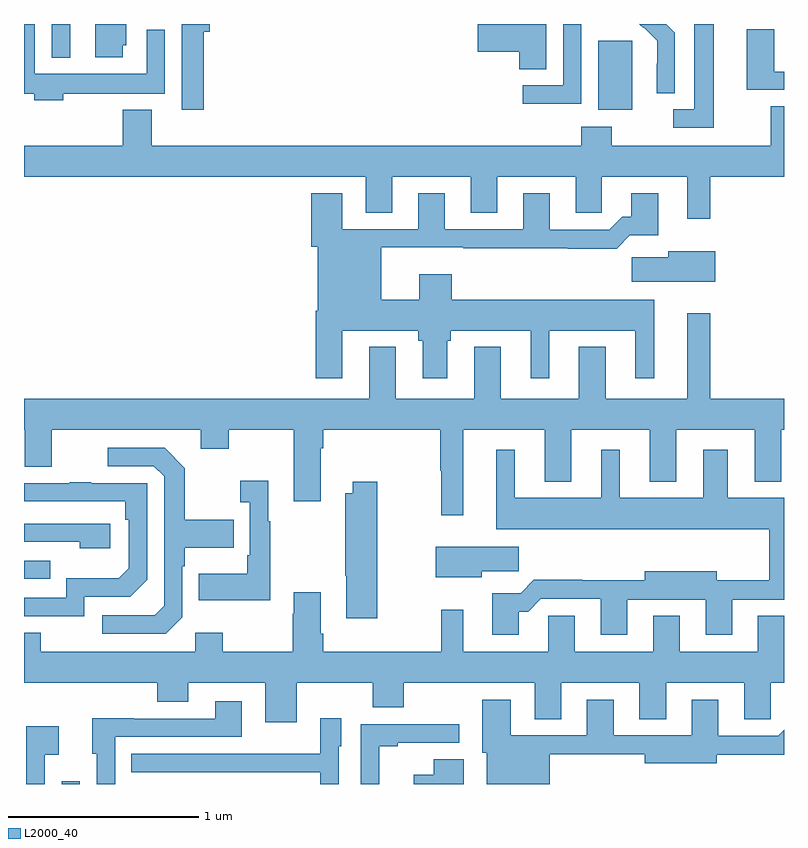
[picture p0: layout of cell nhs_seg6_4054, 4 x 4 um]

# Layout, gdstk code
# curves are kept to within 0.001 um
import gdstk
lib = gdstk.Library(unit=1e-6, precision=1e-09)
def R(c, l, rs):  # rectangles x0, y0, x1, y1
    for r in rs: c.add(gdstk.rectangle(r[:2], r[2:], *l))
def P(c, l, *ps):  # polygons
    for p in ps: c.add(gdstk.Polygon(p, *l))
L2000_40 = (2000, 40)

nhs_seg6_4054 = lib.new_cell('nhs_seg6_4054')
R(nhs_seg6_4054, L2000_40, [(351.198,917.5,351.294,917.515), (351,918.579,351.137,918.675), (354.023,921.05,354.202,921.411), (351.147,921.323,351.244,921.5)])
P(nhs_seg6_4054, L2000_40, [(353.934,921.5),(353.838,921.5),(353.838,921.177),(353.625,921.177),(353.625,921.079),(353.934,921.079)],
  [(354.631,921.5),(354.527,921.5),(354.527,921.051),(354.417,921.051),(354.417,920.955),(354.631,920.955)],
  [(351.52,921.387),(351.538,921.387),(351.538,921.5),(351.374,921.5),(351.374,921.324),(351.52,921.324)],
  [(353.749,921.5),(353.388,921.5),(353.388,921.353),(353.606,921.353),(353.606,921.262),(353.749,921.262)],
  [(351.206,921.132),(351.437,921.132),(351.437,921.134),(351.741,921.134),(351.741,921.469),(351.645,921.469),(351.645,921.238),(351.057,921.238),(351.057,921.5),(351,921.5),(351,921.132),(351.053,921.132),(351.053,921.098),(351.206,921.098)],
  [(354.426,921.454),(354.38,921.5),(354.238,921.5),(354.258,921.48),(354.261,921.483),(354.332,921.413),(354.332,921.29),(354.33,921.29),(354.33,921.136),(354.426,921.136)],
  [(351.947,921.458),(351.977,921.458),(351.977,921.5),(351.831,921.5),(351.831,921.048),(351.947,921.048)],
  [(355,921.249),(354.948,921.249),(354.948,921.473),(354.803,921.473),(354.803,921.153),(355,921.153)],
  [(354.613,920.696),(355,920.696),(355,921.068),(354.929,921.068),(354.929,920.86),(354.093,920.86),(354.093,920.959),(353.933,920.959),(353.933,920.86),(351.673,920.86),(351.673,921.049),(351.521,921.049),(351.521,920.86),(351,920.86),(351,920.696),(352.799,920.696),(352.799,920.506),(352.939,920.506),(352.939,920.696),(353.351,920.696),(353.351,920.506),(353.491,920.506),(353.491,920.696),(353.903,920.696),(353.903,920.506),(354.042,920.506),(354.042,920.696),(354.491,920.696),(354.491,920.475),(354.613,920.475)],
  [(352.675,919.886),(353.074,919.886),(353.074,919.833),(353.099,919.833),(353.099,919.635),(353.227,919.635),(353.227,919.833),(353.247,919.833),(353.247,919.886),(353.666,919.886),(353.666,919.635),(353.764,919.635),(353.764,919.886),(354.218,919.886),(354.218,919.635),(354.316,919.635),(354.316,920.05),(353.252,920.05),(353.252,920.182),(353.081,920.182),(353.081,920.05),(352.879,920.05),(352.879,920.324),(353.311,920.324),(353.311,920.32),(353.863,920.32),(353.863,920.318),(354.119,920.318),(354.188,920.387),(354.337,920.387),(354.337,920.608),(354.197,920.608),(354.197,920.485),(354.148,920.485),(354.081,920.418),(353.767,920.418),(353.767,920.608),(353.627,920.608),(353.627,920.421),(353.215,920.421),(353.215,920.608),(353.075,920.608),(353.075,920.421),(352.675,920.421),(352.675,920.608),(352.511,920.608),(352.511,920.328),(352.547,920.328),(352.547,919.99),(352.535,919.99),(352.535,919.635),(352.675,919.635)],
  [(354.637,920.305),(354.392,920.305),(354.392,920.273),(354.198,920.273),(354.198,920.144),(354.637,920.144)],
  [(351,919.364),(351.005,919.364),(351.005,919.17),(351.145,919.17),(351.145,919.364),(351.929,919.364),(351.929,919.265),(352.077,919.265),(352.077,919.364),(352.421,919.364),(352.421,918.987),(352.561,918.987),(352.561,919.268),(352.574,919.268),(352.574,919.364),(353.19,919.364),(353.19,919.148),(353.197,919.148),(353.197,918.915),(353.311,918.915),(353.311,919.364),(353.741,919.364),(353.741,919.091),(353.881,919.091),(353.881,919.364),(354.293,919.364),(354.293,919.091),(354.433,919.091),(354.433,919.364),(354.845,919.364),(354.845,919.091),(354.985,919.091),(354.985,919.364),(355,919.364),(355,919.528),(354.613,919.528),(354.613,919.978),(354.491,919.978),(354.491,919.528),(354.061,919.528),(354.061,919.801),(353.921,919.801),(353.921,919.528),(353.509,919.528),(353.509,919.801),(353.369,919.801),(353.369,919.528),(352.957,919.528),(352.957,919.801),(352.817,919.801),(352.817,919.528),(351,919.528)],
  [(351.834,918.378),(351.834,918.647),(351.847,918.647),(351.847,918.743),(352.103,918.743),(352.103,918.891),(351.847,918.891),(351.847,919.163),(351.741,919.269),(351.441,919.269),(351.441,919.173),(351.684,919.173),(351.738,919.119),(351.738,918.438),(351.687,918.387),(351.411,918.387),(351.411,918.291),(351.747,918.291)],
  [(353.605,918.407),(353.654,918.407),(353.721,918.474),(354.035,918.474),(354.035,918.285),(354.175,918.285),(354.175,918.471),(354.587,918.47),(354.587,918.285),(354.727,918.285),(354.727,918.471),(355,918.471),(355,919.006),(354.703,919.006),(354.703,919.258),(354.575,919.258),(354.575,919.006),(354.136,919.006),(354.136,919.258),(354.038,919.258),(354.038,919.006),(353.584,919.006),(353.584,919.258),(353.486,919.258),(353.486,918.842),(354.923,918.842),(354.923,918.572),(354.646,918.572),(354.646,918.619),(354.266,918.619),(354.266,918.572),(353.939,918.572),(353.939,918.575),(353.684,918.575),(353.614,918.505),(353.465,918.505),(353.465,918.285),(353.605,918.285)],
  [(352.297,918.883),(352.285,918.883),(352.285,919.096),(352.137,919.096),(352.137,918.983),(352.188,918.983),(352.188,918.703),(352.176,918.703),(352.176,918.607),(351.919,918.607),(351.919,918.467),(352.297,918.467)],
  [(352.86,919.09),(352.73,919.09),(352.73,919.03),(352.69,919.03),(352.69,918.595),(352.697,918.595),(352.697,918.372),(352.86,918.372)],
  [(351.318,918.486),(351.558,918.486),(351.648,918.576),(351.648,919.083),(351.353,919.083),(351.353,919.088),(351.241,919.088),(351.241,919.083),(351,919.083),(351,918.987),(351.532,918.987),(351.532,918.89),(351.552,918.89),(351.552,918.636),(351.499,918.583),(351.222,918.583),(351.222,918.48),(351,918.48),(351,918.384),(351.318,918.384)],
  [(351.454,918.87),(351,918.87),(351,918.774),(351.293,918.774),(351.293,918.74),(351.454,918.74)],
  [(353.41,918.619),(353.605,918.619),(353.605,918.748),(353.166,918.748),(353.166,918.587),(353.41,918.587)],
  [(352.435,918.032),(352.835,918.032),(352.835,917.904),(352.999,917.904),(352.999,918.032),(353.687,918.032),(353.687,917.842),(353.827,917.842),(353.827,918.032),(354.239,918.032),(354.239,917.842),(354.379,917.842),(354.379,918.032),(354.791,918.032),(354.791,917.842),(354.93,917.842),(354.93,918.032),(355,918.032),(355,918.386),(354.863,918.386),(354.863,918.196),(354.451,918.196),(354.451,918.385),(354.311,918.385),(354.311,918.196),(353.899,918.196),(353.899,918.386),(353.76,918.386),(353.76,918.196),(353.311,918.196),(353.311,918.418),(353.197,918.418),(353.197,918.196),(352.574,918.196),(352.574,918.292),(352.561,918.292),(352.561,918.508),(352.421,918.508),(352.421,918.395),(352.414,918.395),(352.414,918.196),(352.047,918.196),(352.047,918.295),(351.9,918.295),(351.9,918.196),(351.087,918.196),(351.087,918.295),(351,918.295),(351,918.032),(351.701,918.032),(351.701,917.933),(351.865,917.933),(351.865,918.032),(352.271,918.032),(352.271,917.826),(352.435,917.826)],
  [(353.767,917.656),(354.266,917.656),(354.266,917.609),(354.646,917.609),(354.646,917.654),(355,917.654),(355,917.785),(354.969,917.754),(354.655,917.754),(354.655,917.944),(354.515,917.944),(354.515,917.757),(354.103,917.757),(354.103,917.944),(353.963,917.944),(353.963,917.757),(353.563,917.757),(353.563,917.944),(353.411,917.944),(353.411,917.664),(353.435,917.664),(353.435,917.5),(353.767,917.5)],
  [(351.48,917.748),(352.147,917.748),(352.147,917.935),(352.007,917.935),(352.007,917.844),(351.577,917.844),(351.577,917.846),(351.359,917.846),(351.359,917.658),(351.384,917.658),(351.384,917.5),(351.48,917.5)],
  [(352.656,917.7),(352.669,917.7),(352.669,917.845),(352.56,917.845),(352.56,917.659),(352.243,917.659),(352.243,917.658),(351.565,917.658),(351.565,917.562),(352.56,917.562),(352.56,917.5),(352.656,917.5)],
  [(352.871,917.698),(352.966,917.698),(352.966,917.718),(353.29,917.718),(353.29,917.814),(352.773,917.814),(352.773,917.5),(352.871,917.5)],
  [(351.108,917.654),(351.184,917.654),(351.184,917.803),(351.011,917.803),(351.011,917.5),(351.108,917.5)],
  [(353.314,917.629),(353.156,917.629),(353.156,917.548),(353.051,917.548),(353.051,917.5),(353.314,917.5)])

lib.write_gds('nhs_seg6_4054.gds')
